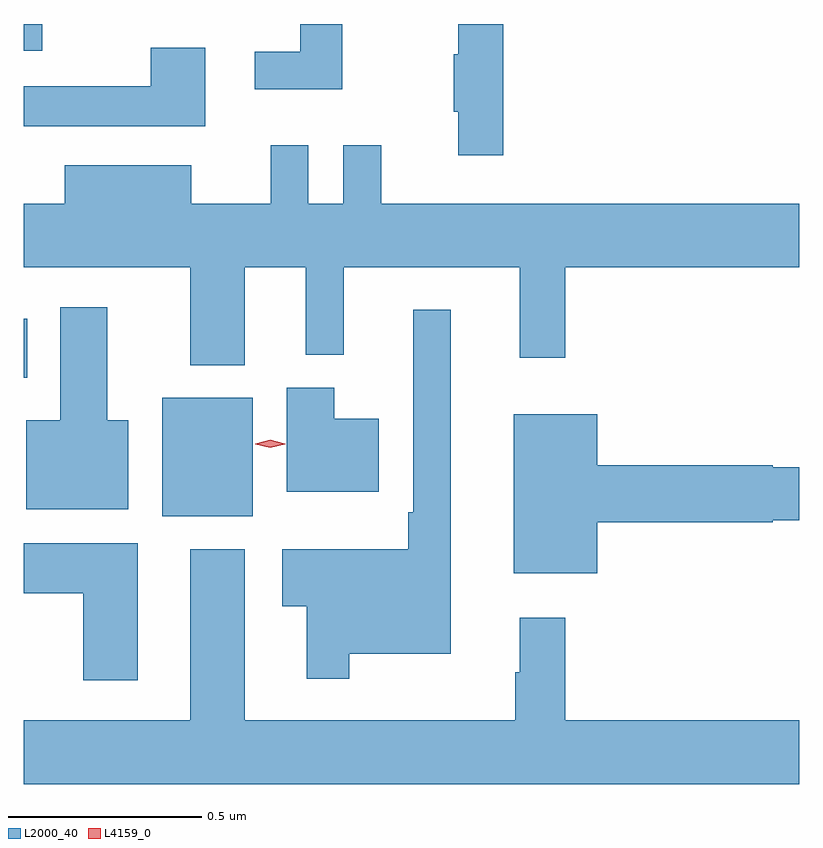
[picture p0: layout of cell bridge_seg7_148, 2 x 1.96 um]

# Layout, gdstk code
import gdstk
lib = gdstk.Library(unit=1e-6, precision=1e-09)
def R(c, l, rs):  # rectangles x0, y0, x1, y1
    for r in rs: c.add(gdstk.rectangle(r[:2], r[2:], *l))
def P(c, l, *ps):  # polygons
    for p in ps: c.add(gdstk.Polygon(p, *l))
L2000_40 = (2000, 40)
L4159_0 = (4159, 0)

bridge_seg7_148 = lib.new_cell('bridge_seg7_148')
R(bridge_seg7_148, L2000_40, [(869.663,999.974,869.896,1000.279), (869.305,1000.331,869.314,1000.483), (869.305,1001.174,869.353,1001.243)])
P(bridge_seg7_148, L2000_40, [(870.542,1001.243),(870.426,1001.243),(870.426,1001.165),(870.414,1001.165),(870.414,1001.017),(870.425,1001.017),(870.425,1000.905),(870.542,1000.905)],
  [(870.127,1001.243),(870.018,1001.243),(870.018,1001.172),(869.901,1001.172),(869.901,1001.075),(870.127,1001.075)],
  [(869.773,1001.182),(869.633,1001.182),(869.633,1001.083),(869.305,1001.083),(869.305,1000.979),(869.773,1000.979)],
  [(870.227,1000.93),(870.129,1000.93),(870.129,1000.78),(870.039,1000.78),(870.039,1000.93),(869.942,1000.93),(869.942,1000.78),(869.737,1000.78),(869.737,1000.879),(869.411,1000.879),(869.411,1000.78),(869.305,1000.78),(869.305,1000.616),(869.735,1000.616),(869.735,1000.364),(869.875,1000.364),(869.875,1000.616),(870.032,1000.616),(870.032,1000.391),(870.131,1000.391),(870.131,1000.616),(870.584,1000.616),(870.584,1000.383),(870.701,1000.383),(870.701,1000.616),(871.305,1000.616),(871.305,1000.78),(870.227,1000.78)],
  [(869.575,1000.222),(869.521,1000.222),(869.521,1000.513),(869.399,1000.513),(869.399,1000.222),(869.312,1000.222),(869.312,999.992),(869.575,999.992)],
  [(870.145,999.62),(870.406,999.62),(870.406,1000.507),(870.309,1000.507),(870.309,999.985),(870.297,999.985),(870.297,999.889),(869.972,999.889),(869.972,999.742),(870.035,999.742),(870.035,999.555),(870.145,999.555)],
  [(870.22,1000.225),(870.106,1000.225),(870.106,1000.306),(869.984,1000.306),(869.984,1000.037),(870.22,1000.037)],
  [(870.784,999.959),(871.236,999.959),(871.236,999.964),(871.305,999.964),(871.305,1000.1),(871.236,1000.1),(871.236,1000.106),(870.784,1000.106),(870.784,1000.237),(870.569,1000.237),(870.569,999.827),(870.784,999.827)],
  [(869.599,999.904),(869.305,999.904),(869.305,999.776),(869.459,999.776),(869.459,999.552),(869.599,999.552)],
  [(871.305,999.448),(870.701,999.448),(870.701,999.712),(870.584,999.712),(870.584,999.572),(870.573,999.572),(870.573,999.448),(869.875,999.448),(869.875,999.889),(869.735,999.889),(869.735,999.448),(869.305,999.448),(869.305,999.284),(871.305,999.284)])
P(bridge_seg7_148, L4159_0, [(869.941,1000.151),(869.902,1000.16),(869.902,1000.161),(869.902,1000.161),(869.941,1000.171),(869.98,1000.161),(869.98,1000.161),(869.98,1000.16)])

lib.write_gds('bridge_seg7_148.gds')
